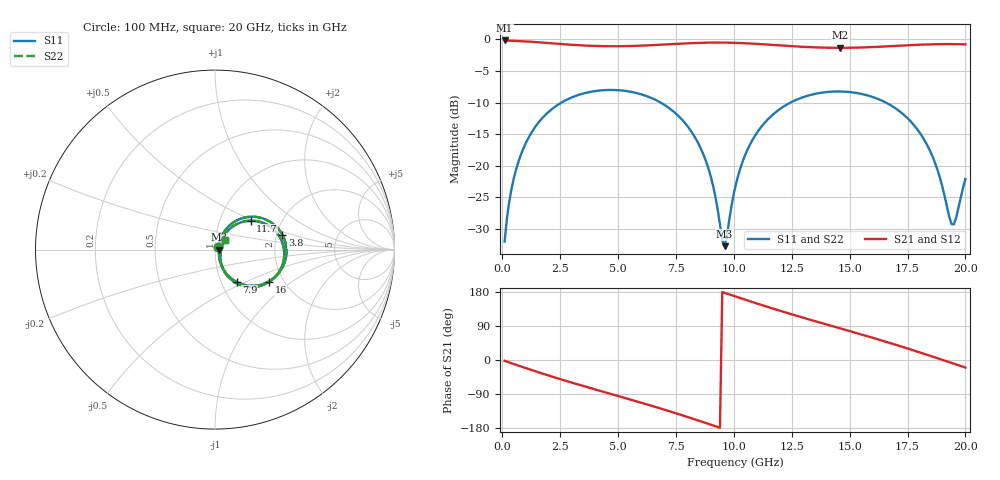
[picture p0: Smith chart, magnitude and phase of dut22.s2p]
! Touchstone file exported from HFSS 2026.1.0
!  File:  C:/ffzhzh/LocalFiles/Ansys_Project_Files/temp_train_TSV_RDL_22_1782962928_15332.aedt
!  Generated:  11:42:27 AM Jul  2, 2026
!  Design:  TSV_RDL
!  Project:  temp_train_TSV_RDL_22_1782962928_15332
! Variables:
!  h_bsmrdl = 5.12um
!  h_ox = 20um
!  h_rdl = 5um
!  h_sub = 98.29um
!  h_tmrdl = 5.82um
!  h_tsv = 98.29um
!  h_via = 3um
!  l_bsmrdl = 774.72um
!  l_sub = 6393.47um
!  l_tmrdl = 882.55um
!  m_sub = 200um
!  pitch = 42.83um
!  r_tsv = 8.47um
!  s_tmrdl = 10um
!  w_bsmrdl = 19.78um
!  w_sub = 500um
!  w_tmrdl = 26.59um
!  x_tsv_center1 = 895.845um
!  x_tsv_center2 = 1690.345um
!  x_tsv_center3 = 2599.485um
!  x_tsv_center4 = 3393.985um
!  x_tsv_center5 = 4303.125um
!  x_tsv_center6 = 5097.625um
# GHz S MA R 50.000000
! Terminal data exported
! Port[1] = TM_RDL1_1_T1
! Port[2] = TM_RDL5_1_T1
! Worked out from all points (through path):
!   200 points, 100 MHz to 20 GHz, reference 50 ohm
!   highest |S21| = -0.16 dB at 100 MHz (marker M1); lowest = -1.3 dB at 14.6 GHz (marker M2)
!   group delay of S21, straight-line fit = 52.3 ps
!   lowest |S11| = -32.7 dB at 9.6 GHz (marker M3), VSWR 1.05, Z = 52.4 - j0.0474 ohm
!   |S11| at or under -10 dB: start of sweep to 2.552 GHz; 6.84 GHz to 12.44 GHz (5.602 GHz wide, 58.1 % of centre); 16.57 GHz to end of sweep
!   |S22| runs from -32.7 to -8.0 dB; largest |S21 - S12| = 1.6e-14
!   S11 on the Smith chart (normalised r, x): 100 MHz: 1.04, +0.03; 3.8 GHz: 2.15, +0.41; 7.9 GHz: 1.18, -0.45; 11.7 GHz: 1.40, +0.48; 16 GHz: 1.68, -0.69; 20 GHz: 1.12, +0.12
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0.1  0.02514 40.7  0.9815 -2.2  0.9815 -2.2  0.02514 40.7
! Gamma 0 0 0 0
! Port Impedance 50 0 50 0
0.5  0.07997 63.4  0.9751 -10.7  0.9751 -10.7  0.07997 63.4
1.1  0.1624 58.3  0.9625 -23.1  0.9625 -23.1  0.1624 58.3
2.1  0.2768 41.5  0.9328 -42.9  0.9328 -42.9  0.2768 41.5
3.5  0.3735 17.2  0.8957 -68.6  0.8957 -68.6  0.3735 17.2
3.8  0.3846 12.2  0.8907 -74.0  0.8907 -74.0  0.3846 12.1
5.3  0.3917 -12.8  0.8849 -100.2  0.8849 -100.2  0.3917 -12.8
6.8  0.3193 -37.9  0.9073 -127.3  0.9073 -127.3  0.3193 -38.0
7.9  0.2168 -56.3  0.93 -148.4  0.93 -148.4  0.2167 -56.3
8.9  0.0955 -67.8  0.9432 -168.5  0.9432 -168.5  0.09544 -67.8
9.6  0.02312 -1.1  0.9436 177.2  0.9436 177.2  0.02316 -1.0
10.1  0.07287 56.1  0.9389 167.0  0.9389 167.0  0.07295 56.1
10.7  0.1476 54.0  0.9284 155.0  0.9284 155.0  0.1476 53.9
11.7  0.2556 39.1  0.9041 135.5  0.9041 135.5  0.2557 39.0
13.4  0.3672 11.1  0.8669 104.4  0.8669 104.4  0.3672 11.0
14.6  0.3873 -8.4  0.8582 83.4  0.8582 83.4  0.3873 -8.5
16  0.3502 -31.0  0.8703 58.6  0.8703 58.6  0.3502 -31.2
16.7  0.307 -42.4  0.883 45.7  0.883 45.7  0.307 -42.6
18.4  0.1399 -66.3  0.9136 12.7  0.9136 12.7  0.1398 -66.7
19.4  0.03465 -22.1  0.9185 -7.6  0.9185 -7.6  0.03393 -22.5
19.6  0.03884 15.4  0.9176 -11.7  0.9176 -11.7  0.0382 15.9
20  0.07866 42.8  0.9142 -19.9  0.9142 -19.9  0.07835 43.2
